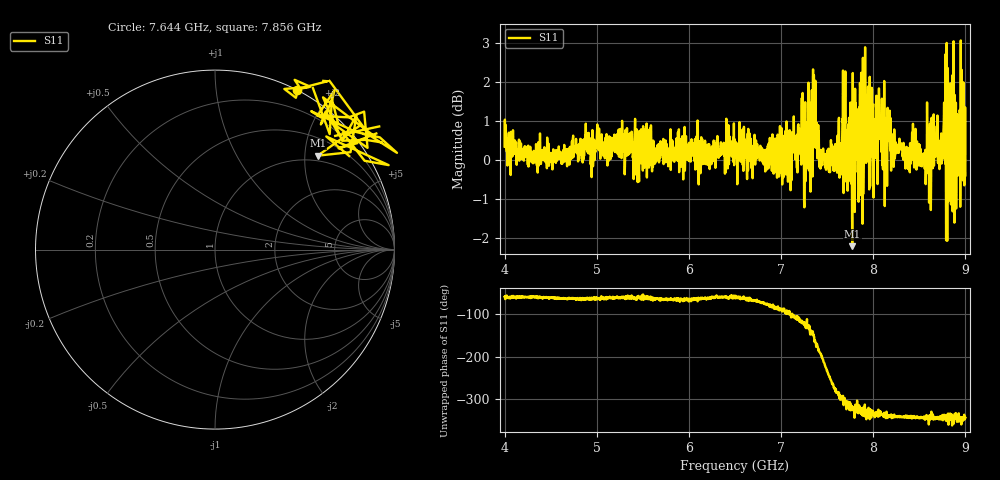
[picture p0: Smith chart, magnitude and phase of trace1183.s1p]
! Created with skrf 1.8.0 (http://scikit-rf.org).
# Hz S RI R 50.0
!freq ReS11 ImS11
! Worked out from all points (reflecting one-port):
!   1601 points, 4 GHz to 9 GHz, reference 50 ohm
!   lowest |S11| = -2.2 dB at 7.772 GHz (marker M1), VSWR 7.92, Z = 43.6 + j115 ohm
!   phase of S11 starts at -58 deg and turns -287 deg over the sweep
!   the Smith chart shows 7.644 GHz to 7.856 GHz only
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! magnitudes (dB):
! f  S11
! 4 GHz  0.3
! 4.625 GHz  -0.1
! 5.25 GHz  0.3
! 5.875 GHz  0.1
! 6.5 GHz  0.1
! 7.125 GHz  0.5
! 7.209 GHz  0.5
! 7.262 GHz  1.5
! 7.35 GHz  0.5
! 7.438 GHz  -0.1
! 7.584 GHz  -0.3
! 7.656 GHz  0.2
! 7.672 GHz  2.3
! 7.75 GHz  -0.2
! 7.772 GHz  -2.2
! 7.803 GHz  1.8
! 7.859 GHz  1.8
! 7.928 GHz  1.1
! 7.981 GHz  0.2
! 8.053 GHz  1.0
! 8.375 GHz  0.1
! 8.441 GHz  0.0
! 8.584 GHz  1.5
! 8.766 GHz  1.0
! 8.788 GHz  -0.4
! 8.903 GHz  1.2
! 8.959 GHz  2.3
! 9 GHz  -0.4
